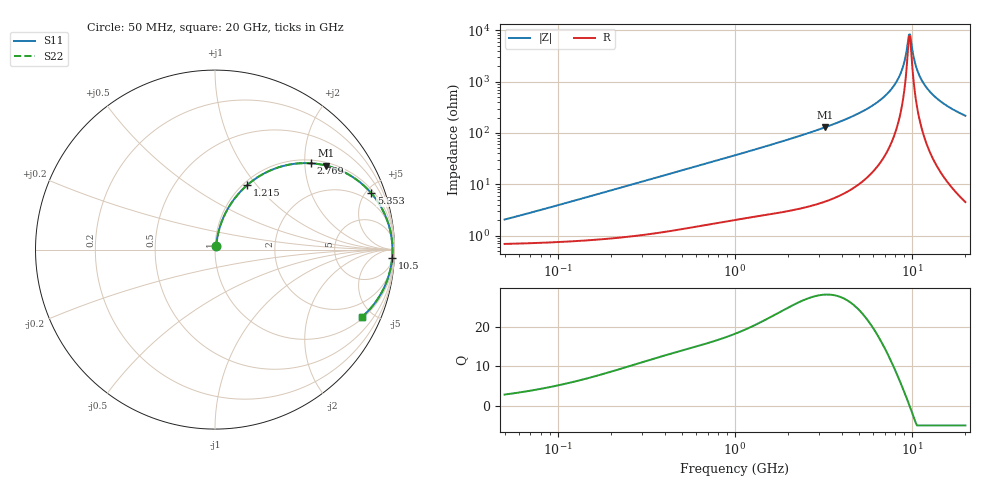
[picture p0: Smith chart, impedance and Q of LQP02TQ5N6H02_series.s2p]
!Murata Part Number: LQP02TQ5N6H02
!These Parameters are Measured in Series Mode Connection
!  o--[Z]--o
!Port1  Port2
!  o-------o
!Freq. Start=50[MHz] Stop=20[GHz], 401[Steps]
# Hz S RI R 50
!Freq.(Hz) S11(Real) S11(Imag) S21(Real) S21(Imag) S12(Real) S12(Imag) S22(Real) S22(Imag)
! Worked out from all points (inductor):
!   401 points, 50 MHz to 20 GHz, reference 50 ohm
!   read as one part in series: L = 6.13 nH near 53.89 MHz
!   highest Q = 28.1 at 3.217 GHz (marker M1), where L = 6.36 nH
!   self-resonance near 9.6 GHz
!   S11 on the Smith chart (normalised r, x): 50 MHz: 1.01, +0.04; 1.215 GHz: 1.04, +0.89; 2.769 GHz: 1.08, +2.15; 5.353 GHz: 1.24, +5.47; 10.5 GHz: 10, -40; 20 GHz: 1.09, -4.33
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5e7  0.00718 0.0191  0.9928 -0.0191  0.9928 -0.0191  0.00718 0.0191
1.364002e8  0.0105 0.051  0.9895 -0.051  0.9895 -0.051  0.0105 0.051
3.721004e8  0.0295 0.1334  0.9705 -0.1334  0.9705 -0.1334  0.0295 0.1334
1e9  0.1318 0.3119  0.8682 -0.3119  0.8682 -0.3119  0.1318 0.3119
1.214974e9  0.1779 0.358  0.8221 -0.358  0.8221 -0.358  0.1779 0.358
2.728004e9  0.5259 0.4815  0.4741 -0.4815  0.4741 -0.4815  0.5259 0.4815
2.769174e9  0.5343 0.481  0.4657 -0.481  0.4657 -0.481  0.5343 0.481
3.216634e9  0.619 0.4682  0.381 -0.4682  0.381 -0.4682  0.619 0.4682
5.352748e9  0.8716 0.3133  0.1284 -0.3133  0.1284 -0.3133  0.8716 0.3133
6.406762e9  0.931 0.2268  0.069 -0.2268  0.069 -0.2268  0.931 0.2268
7.442007e9  0.965 0.1474  0.035 -0.1474  0.035 -0.1474  0.965 0.1474
8.141811e9  0.9783 0.0976  0.0217 -0.0976  0.0217 -0.0976  0.9783 0.0976
8.644534e9  0.9842 0.0639  0.0158 -0.0639  0.0158 -0.0639  0.9842 0.0639
9.041845e9  0.9871 0.0385  0.0129 -0.0385  0.0129 -0.0385  0.9871 0.0385
9.457416e9  0.9886 0.0129  0.0114 -0.0129  0.0114 -0.0129  0.9886 0.0129
9.600142e9  0.9888 0.00434  0.0112 -0.00434  0.0112 -0.00434  0.9888 0.00434
9.892087e9  0.9888 -0.0127  0.0112 0.0127  0.0112 0.0127  0.9888 -0.0127
1.050288e10  0.987 -0.0469  0.013 0.0469  0.013 0.0469  0.987 -0.0469
1.149051e10  0.9797 -0.0978  0.0203 0.0978  0.0203 0.0978  0.9797 -0.0978
1.295331e10  0.9617 -0.1644  0.0383 0.1644  0.0383 0.1644  0.9617 -0.1644
1.573793e10  0.9122 -0.2667  0.0878 0.2667  0.0878 0.2667  0.9122 -0.2667
2e10  0.819 -0.3748  0.181 0.3748  0.181 0.3748  0.819 -0.3748
